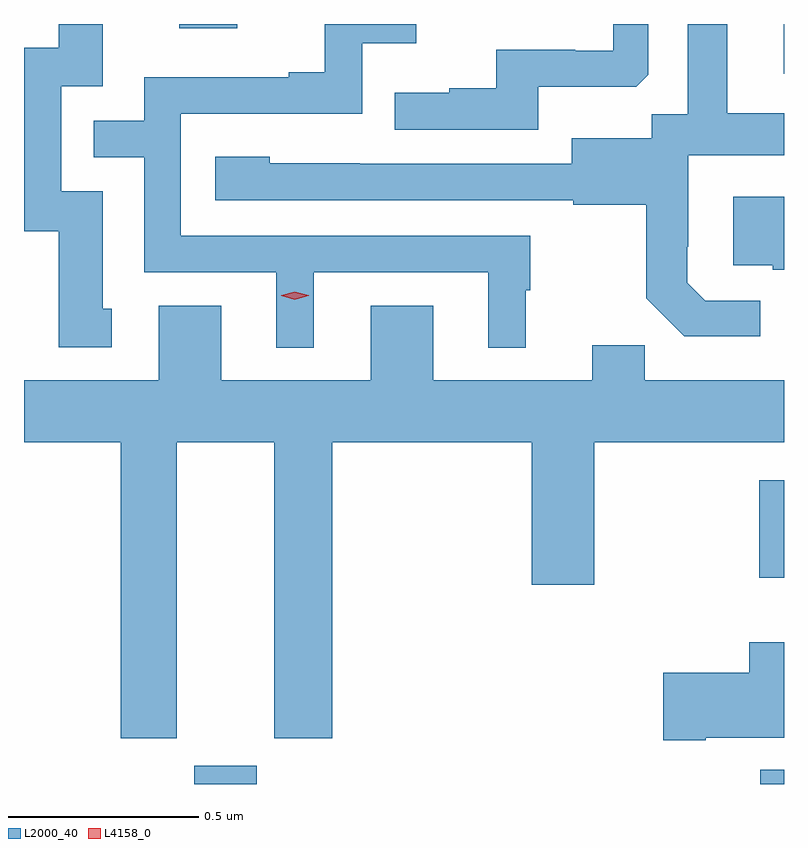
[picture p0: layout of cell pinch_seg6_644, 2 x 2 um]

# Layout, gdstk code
import gdstk
lib = gdstk.Library(unit=1e-6, precision=1e-09)
def R(c, l, rs):  # rectangles x0, y0, x1, y1
    for r in rs: c.add(gdstk.rectangle(r[:2], r[2:], *l))
def P(c, l, *ps):  # polygons
    for p in ps: c.add(gdstk.Polygon(p, *l))
L2000_40 = (2000, 40)
L4158_0 = (4158, 0)

pinch_seg6_644 = lib.new_cell('pinch_seg6_644')
R(pinch_seg6_644, L2000_40, [(487.796,958.425,487.96,958.473), (489.285,958.425,489.348,958.462), (489.283,958.968,489.348,959.224), (489.347,960.294,489.348,960.425), (487.757,960.414,487.909,960.425)])
P(pinch_seg6_644, L2000_40, [(489.286,959.697),(489.141,959.697),(489.094,959.744),(489.094,959.839),(489.096,959.839),(489.096,960.08),(489.348,960.08),(489.348,960.19),(489.199,960.19),(489.199,960.425),(489.095,960.425),(489.095,960.188),(489,960.188),(489,960.124),(488.789,960.124),(488.789,960.057),(488.231,960.057),(488.231,960.058),(487.995,960.058),(487.995,960.076),(487.851,960.076),(487.851,959.961),(488.793,959.961),(488.793,959.949),(488.985,959.949),(488.985,959.703),(489.085,959.603),(489.286,959.603)],
  [(487.579,959.676),(487.555,959.676),(487.555,959.985),(487.446,959.985),(487.446,960.261),(487.555,960.261),(487.555,960.425),(487.439,960.425),(487.439,960.362),(487.348,960.362),(487.348,959.88),(487.439,959.88),(487.439,959.574),(487.579,959.574)],
  [(488.701,960.26),(488.959,960.26),(488.991,960.291),(488.991,960.425),(488.898,960.425),(488.898,960.354),(488.798,960.354),(488.798,960.357),(488.591,960.357),(488.591,960.256),(488.467,960.256),(488.467,960.244),(488.323,960.244),(488.323,960.147),(488.701,960.147)],
  [(488.11,959.772),(488.57,959.772),(488.57,959.573),(488.668,959.573),(488.668,959.724),(488.68,959.724),(488.68,959.868),(487.761,959.868),(487.761,960.189),(488.238,960.189),(488.238,960.374),(488.38,960.374),(488.38,960.425),(488.14,960.425),(488.14,960.298),(488.045,960.298),(488.045,960.285),(487.665,960.285),(487.665,960.171),(487.531,960.171),(487.531,960.075),(487.665,960.075),(487.665,959.772),(488.012,959.772),(488.012,959.573),(488.11,959.573)],
  [(489.348,959.971),(489.215,959.971),(489.215,959.79),(489.319,959.79),(489.319,959.778),(489.348,959.778)],
  [(487.75,959.324),(488.006,959.324),(488.006,958.545),(488.159,958.545),(488.159,959.324),(488.684,959.324),(488.684,958.95),(488.848,958.95),(488.848,959.324),(489.348,959.324),(489.348,959.488),(488.981,959.488),(488.981,959.579),(488.843,959.579),(488.843,959.488),(488.425,959.488),(488.425,959.683),(488.261,959.683),(488.261,959.488),(487.867,959.488),(487.867,959.683),(487.703,959.683),(487.703,959.488),(487.348,959.488),(487.348,959.324),(487.603,959.324),(487.603,958.545),(487.75,958.545)],
  [(489.142,958.547),(489.348,958.547),(489.348,958.798),(489.257,958.798),(489.257,958.718),(489.03,958.718),(489.03,958.54),(489.142,958.54)])
P(pinch_seg6_644, L4158_0, [(488.061,959.7),(488.025,959.71),(488.025,959.71),(488.025,959.711),(488.061,959.72),(488.097,959.711),(488.097,959.71),(488.097,959.71)])

lib.write_gds('pinch_seg6_644.gds')
